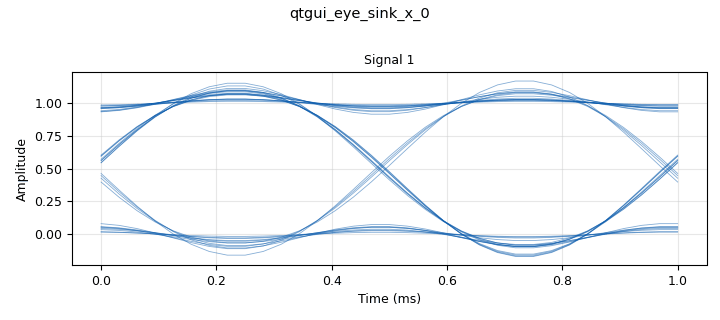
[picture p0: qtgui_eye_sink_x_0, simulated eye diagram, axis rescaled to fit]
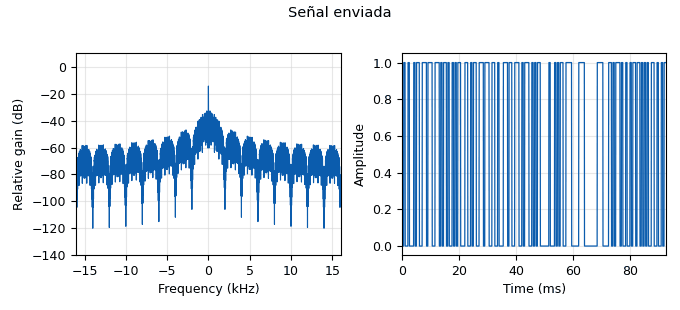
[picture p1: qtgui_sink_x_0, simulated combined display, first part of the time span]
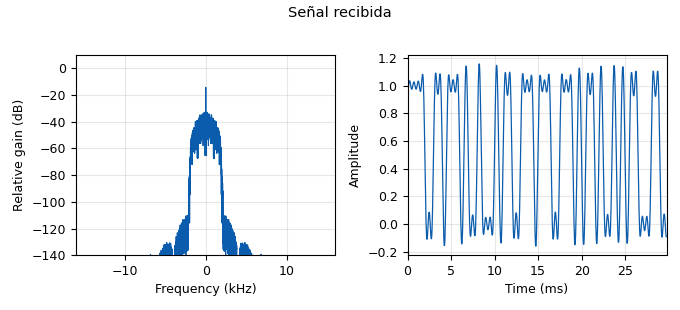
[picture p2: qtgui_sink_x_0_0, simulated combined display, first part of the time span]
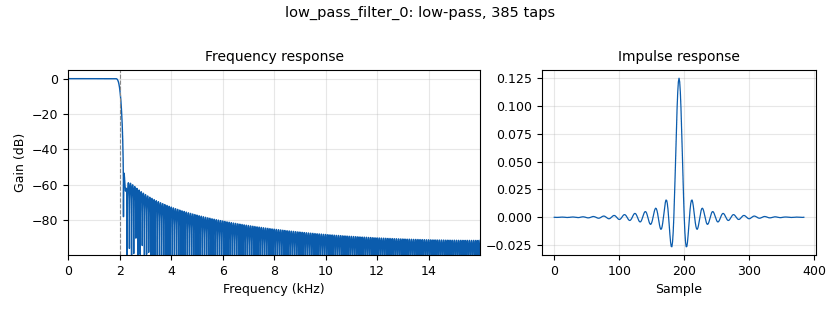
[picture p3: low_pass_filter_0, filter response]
options:
  parameters:
    generate_options: qt_gui
    id: digital_baseband
    output_language: python
    title: Modulacion Digital en Banda Base
  states: {}

blocks:
- name: bandwidth
  id: variable_qtgui_dial_control
  parameters:
    gui_hint: '[0,5,1,1]'
    label: Bandwidth
    maximum: '80'
    minimum: '5'
    relBackgroundColor: teal
    scaleFactor: '100'
    showvalue: 'True'
    type: real
    value: '2000'
  states: {}
- name: noise
  id: variable_qtgui_dial_control
  parameters:
    gui_hint: '[1,5,1,1]'
    label: Noise
    maximum: '100'
    minimum: '0'
    scaleFactor: '.002'
    showvalue: 'True'
    type: real
    value: '0'
  states: {}
- name: samp_rate
  id: variable
  parameters:
    value: symbol_rate*sps
  states: {}
- name: sps
  id: variable
  parameters:
    value: '16'
  states: {}
- name: symbol_rate
  id: variable
  parameters:
    value: '2000'
  states: {}
- name: analog_noise_source_x_0
  id: analog_noise_source_x
  parameters:
    amp: noise
    noise_type: analog.GR_GAUSSIAN
    seed: '0'
    type: float
  states: {}
- name: analog_random_uniform_source_x_0
  id: analog_random_uniform_source_x
  parameters:
    maximum: '2'
    minimum: '0'
    seed: '0'
    type: byte
  states: {}
- name: blocks_add_xx_0
  id: blocks_add_xx
  parameters:
    type: float
  states: {}
- name: blocks_char_to_float_0
  id: blocks_char_to_float
  parameters:
    scale: '1'
  states: {}
- name: blocks_repeat_0
  id: blocks_repeat
  parameters:
    interp: sps
    type: float
  states: {}
- name: blocks_throttle2_0
  id: blocks_throttle2
  parameters:
    limit: time
    samples_per_second: symbol_rate
    type: byte
  states: {}
- name: digital_map_bb_0
  id: digital_map_bb
  parameters:
    map: '[0,1]'
  states: {}
- name: low_pass_filter_0
  id: low_pass_filter
  parameters:
    cutoff_freq: bandwidth
    decim: '1'
    gain: '1'
    samp_rate: samp_rate
    type: fir_filter_fff
    width: bandwidth/10
    win: window.WIN_HAMMING
  states: {}
- name: qtgui_eye_sink_x_0
  id: qtgui_eye_sink_x
  parameters:
    gui_hint: '[2,0,1,5]'
    samp_per_symbol: '16'
    size: '1024'
    srate: samp_rate
    type: float
  states: {}
- name: qtgui_sink_x_0
  id: qtgui_sink_x
  parameters:
    bw: samp_rate
    fc: '0'
    fftsize: '8192'
    gui_hint: '[0,0,1,5]'
    name: '"Señal enviada"'
    plotwaterfall: 'False'
    type: float
  states: {}
- name: qtgui_sink_x_0_0
  id: qtgui_sink_x
  parameters:
    bw: samp_rate
    fc: '0'
    fftsize: '8192'
    gui_hint: '[1,0,1,5]'
    name: '"Señal recibida"'
    plotwaterfall: 'False'
    type: float
  states: {}
- name: virtual_sink_0
  id: virtual_sink
  parameters:
    stream_id: simbolos
  states: {}
- name: virtual_source_0
  id: virtual_source
  parameters:
    stream_id: simbolos
  states: {}

connections:
- [analog_noise_source_x_0, '0', blocks_add_xx_0, '1']
- [analog_random_uniform_source_x_0, '0', digital_map_bb_0, '0']
- [blocks_add_xx_0, '0', qtgui_eye_sink_x_0, '0']
- [blocks_add_xx_0, '0', qtgui_sink_x_0_0, '0']
- [blocks_char_to_float_0, '0', virtual_sink_0, '0']
- [blocks_repeat_0, '0', low_pass_filter_0, '0']
- [blocks_repeat_0, '0', qtgui_sink_x_0, '0']
- [blocks_throttle2_0, '0', blocks_char_to_float_0, '0']
- [digital_map_bb_0, '0', blocks_throttle2_0, '0']
- [low_pass_filter_0, '0', blocks_add_xx_0, '0']
- [virtual_source_0, '0', blocks_repeat_0, '0']

metadata:
  file_format: 1
  grc_version: 3.10.12.0
